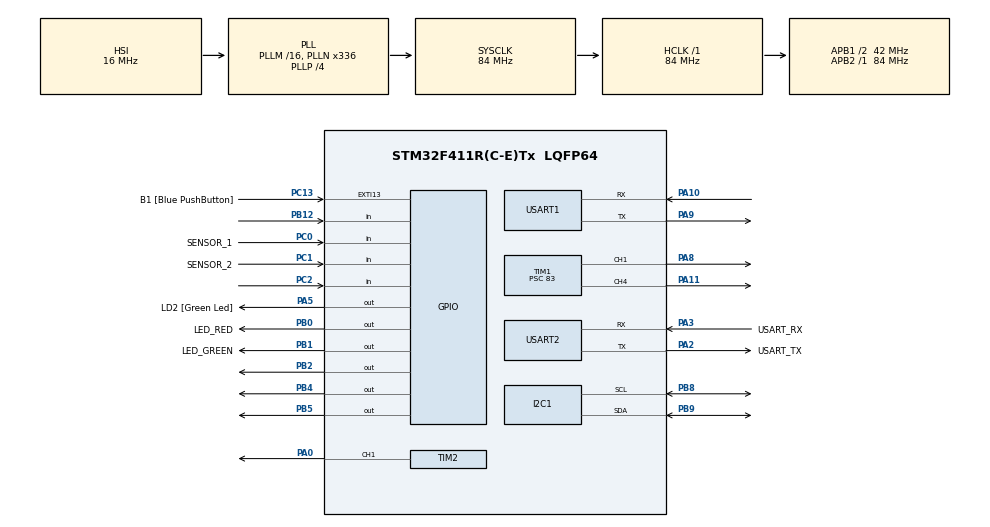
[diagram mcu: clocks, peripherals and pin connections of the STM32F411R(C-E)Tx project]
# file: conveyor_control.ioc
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Mcu.Family=STM32F4
Mcu.Name=STM32F411R(C-E)Tx
Mcu.Package=LQFP64
NVIC.PriorityGroup=NVIC_PRIORITYGROUP_0
NVIC.USART1_IRQn=true\:0\:0\:false\:false\:true\:true\:true\:true
PA0-WKUP.Signal=S_TIM2_CH1_ETR
PA10.Mode=Asynchronous
PA10.Signal=USART1_RX
PA11.Signal=S_TIM1_CH4
PA13.GPIO_Label=TMS
PA13.Mode=Serial_Wire
PA13.Signal=SYS_JTMS-SWDIO
PA14.GPIO_Label=TCK
PA14.Mode=Serial_Wire
PA14.Signal=SYS_JTCK-SWCLK
PA2.GPIO_Label=USART_TX
PA2.Mode=Asynchronous
PA2.Signal=USART2_TX
PA3.GPIO_Label=USART_RX
PA3.Mode=Asynchronous
PA3.Signal=USART2_RX
PA5.GPIO_Label=LD2 [Green Led]
PA5.Signal=GPIO_Output
PA8.Signal=S_TIM1_CH1
PA9.Mode=Asynchronous
PA9.Signal=USART1_TX
PB0.GPIO_Label=LED_RED
PB0.Signal=GPIO_Output
PB1.GPIO_Label=LED_GREEN
PB1.Signal=GPIO_Output
PB12.GPIO_PuPd=GPIO_PULLUP
PB12.Signal=GPIO_Input
PB2.Signal=GPIO_Output
PB3.GPIO_Label=SWO
PB3.Signal=SYS_JTDO-SWO
PB4.Signal=GPIO_Output
PB5.Signal=GPIO_Output
PB8.Mode=I2C
PB8.Signal=I2C1_SCL
PB9.Mode=I2C
PB9.Signal=I2C1_SDA
PC0.GPIO_Label=SENSOR_1
PC0.Signal=GPIO_Input
PC1.GPIO_Label=SENSOR_2
PC1.Signal=GPIO_Input
PC13-ANTI_TAMP.GPIO_Label=B1 [Blue PushButton]
PC13-ANTI_TAMP.GPIO_ModeDefaultEXTI=GPIO_MODE_IT_FALLING
PC13-ANTI_TAMP.Signal=GPXTI13
PC14-OSC32_IN.Mode=LSE-External-Oscillator
PC14-OSC32_IN.Signal=RCC_OSC32_IN
PC15-OSC32_OUT.Mode=LSE-External-Oscillator
PC15-OSC32_OUT.Signal=RCC_OSC32_OUT
PC2.Signal=GPIO_Input
PH0\ -\ OSC_IN.Mode=HSE-External-Clock-Source
PH0\ -\ OSC_IN.Signal=RCC_OSC_IN
PH1\ -\ OSC_OUT.Mode=HSE-External-Clock-Source
PH1\ -\ OSC_OUT.Signal=RCC_OSC_OUT
ProjectManager.HeapSize=0x200
ProjectManager.StackSize=0x400
ProjectManager.TargetToolchain=STM32CubeIDE
RCC.48MHZClocksFreq_Value=84000000
RCC.AHBFreq_Value=84000000
RCC.APB1CLKDivider=RCC_HCLK_DIV2
RCC.APB1Freq_Value=42000000
RCC.APB1TimFreq_Value=84000000
RCC.APB2Freq_Value=84000000
RCC.APB2TimFreq_Value=84000000
RCC.CortexFreq_Value=84000000
RCC.FLatency-AdvancedSettings=FLASH_LATENCY_2
RCC.HCLKFreq_Value=84000000
RCC.HSE_VALUE=8000000
RCC.HSI_VALUE=16000000
RCC.PLLN=336
RCC.PLLP=RCC_PLLP_DIV4
RCC.SYSCLKFreq_VALUE=84000000
RCC.SYSCLKSource=RCC_SYSCLKSOURCE_PLLCLK
RCC.VCOOutputFreq_Value=336000000
SH.S_TIM1_CH1.0=TIM1_CH1,PWM Generation1 CH1
SH.S_TIM1_CH4.0=TIM1_CH4,PWM Generation4 CH4
SH.S_TIM2_CH1_ETR.0=TIM2_CH1,PWM Generation1 CH1
TIM1.Channel-PWM\ Generation1\ CH1=TIM_CHANNEL_1
TIM1.Channel-PWM\ Generation4\ CH4=TIM_CHANNEL_4
TIM1.Period=19999
TIM1.Prescaler=83
TIM1.Pulse-PWM\ Generation4\ CH4=1500
TIM2.Channel-PWM\ Generation1\ CH1=TIM_CHANNEL_1
TIM2.Period=999
TIM2.Prescaler=83
USART1.VirtualMode=VM_ASYNC
USART2.VirtualMode=VM_ASYNC
VP_TIM2_VS_ClockSourceINT.Mode=Internal
board=NUCLEO-F411RE

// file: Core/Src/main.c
/* USER CODE BEGIN Header */
/**
  ******************************************************************************
  * @file           : main.c
  * @brief          : Main program body
  ******************************************************************************
  * @attention
  *
  * Copyright (c) 2026 STMicroelectronics.
  * All rights reserved.
  *
  * This software is licensed under terms that can be found in the LICENSE file
  * in the root directory of this software component.
  * If no LICENSE file comes with this software, it is provided AS-IS.
  *
  ******************************************************************************
  */
/* USER CODE END Header */
#include "main.h"

/* USER CODE BEGIN Includes */
#include "servo_motor.h"
#include "tracking.h"
#include "led.h"
#include "sorter.h"
#include "conveyor.h"
#include "button.h"
#include "lcd.h"
#include "communication.h"
#include "wifi.h"

/* USER CODE END Includes */

I2C_HandleTypeDef hi2c1;

TIM_HandleTypeDef htim1;
TIM_HandleTypeDef htim2;

UART_HandleTypeDef huart1;
UART_HandleTypeDef huart2;

/* USER CODE BEGIN PV */

volatile uint8_t sensor1_raw = 0U;
volatile uint8_t sensor2_raw = 0U;
volatile uint8_t sensor3_raw = 0U;

volatile uint8_t sensor1_detected = 0U;
volatile uint8_t sensor2_detected = 0U;
volatile uint8_t sensor3_detected = 0U;

volatile uint32_t sensor1_count = 0U;
static uint8_t sensor1_previous = 0U;

volatile SorterError sorter_error = SORTER_ERR_NONE;

volatile uint8_t button_raw = 1U;

volatile uint32_t normal_completed = 0U;
volatile uint32_t defect_completed = 0U;
volatile uint8_t pending_products = 0U;
volatile uint8_t lcd_ok = 0U;

// TEMP: 1 = belt-only test; set to 0 to restore sorting.
#define CONVEYOR_TEST_MODE 0
static uint8_t startup_run_pending = 1U;
#if CONVEYOR_TEST_MODE
static uint8_t test_running = 1U;
#endif

/* USER CODE END PV */

void SystemClock_Config(void);
static void MX_GPIO_Init(void);
static void MX_USART2_UART_Init(void);
static void MX_TIM1_Init(void);
static void MX_TIM2_Init(void);
static void MX_I2C1_Init(void);
static void MX_USART1_UART_Init(void);

int main(void)
{

  /* MCU Configuration--------------------------------------------------------*/

  /* Reset of all peripherals, Initializes the Flash interface and the Systick. */
  HAL_Init();

  /* Configure the system clock */
  SystemClock_Config();

  /* Initialize all configured peripherals */
  MX_GPIO_Init();
  MX_USART2_UART_Init();
  MX_TIM1_Init();
  MX_TIM2_Init();
  MX_I2C1_Init();\
  MX_USART1_UART_Init();
  /* USER CODE BEGIN 2 */

 Button_Init();
  Conveyor_Init();
  Sorter_Init();

  lcd_ok = LCD_Init();

#if CONVEYOR_TEST_MODE
  Conveyor_Run(40);
#else
  Communication_Init();
#endif

  /* USER CODE END 2 */

  /* Infinite loop */
while (1)
{

    /* USER CODE BEGIN 3 */
#if CONVEYOR_TEST_MODE
    // Sensor and communication control are temporarily excluded.
    button_raw = Button_ReadRaw();
    if (Button_WasPressed())
    {
        test_running ^= 1U;
        if (test_running) Conveyor_Run(40);
        else Conveyor_Stop();
    }
#else
    Communication_Update();

    if (startup_run_pending &&
        Wifi_IsReady() &&
        !Sorter_IsStopped())
    {
        startup_run_pending = 0U;
        Conveyor_Run(40);
        Communication_ReportState("RUN");
    }

    sensor1_raw = Tracking_Read1();
    sensor2_raw = Tracking_Read2();
    sensor3_raw = Tracking_Read3();

    sensor1_detected = Tracking_IsDetected1();
    sensor2_detected = Tracking_IsDetected2();
    sensor3_detected = Tracking_IsDetected3();

    if (sensor1_previous == 0U &&
        sensor1_detected == 1U)
    {
        sensor1_count++;
    }

    sensor1_previous = sensor1_detected;

    button_raw = Button_ReadRaw();

    if (Button_WasPressed())
    {
        startup_run_pending = 0U;

        if (!Sorter_IsStopped())
        {
            Sorter_Stop();
        }
        else if (!Wifi_IsReady())
        {
            LCD_ShowResetBlocked();
        }
        else if (Sorter_TryReset())
        {
            LCD_ClearResetBlocked();
            Conveyor_Run(40);

            Communication_ReportState("RESTART");
            Communication_ReportState("RUN");
        }
        else
        {
            LCD_ShowResetBlocked();
        }
    }

    Sorter_Update();

    sorter_error = Sorter_GetError();
    normal_completed = Sorter_GetNormalCount();
    defect_completed = Sorter_GetDefectCount();
    pending_products = Sorter_GetPendingCount();

    LCD_Update();
#endif
    HAL_Delay(10);
}

  /* USER CODE END 3 */
}

void SystemClock_Config(void)
{
  RCC_OscInitTypeDef RCC_OscInitStruct = {0};
  RCC_ClkInitTypeDef RCC_ClkInitStruct = {0};

  /** Configure the main internal regulator output voltage
  */
  __HAL_RCC_PWR_CLK_ENABLE();
  __HAL_PWR_VOLTAGESCALING_CONFIG(PWR_REGULATOR_VOLTAGE_SCALE1);

  /** Initializes the RCC Oscillators according to the specified parameters
  * in the RCC_OscInitTypeDef structure.
  */
  RCC_OscInitStruct.OscillatorType = RCC_OSCILLATORTYPE_HSI;
  RCC_OscInitStruct.HSIState = RCC_HSI_ON;
  RCC_OscInitStruct.HSICalibrationValue = RCC_HSICALIBRATION_DEFAULT;
  RCC_OscInitStruct.PLL.PLLState = RCC_PLL_ON;
  RCC_OscInitStruct.PLL.PLLSource = RCC_PLLSOURCE_HSI;
  RCC_OscInitStruct.PLL.PLLM = 16;
  RCC_OscInitStruct.PLL.PLLN = 336;
  RCC_OscInitStruct.PLL.PLLP = RCC_PLLP_DIV4;
  RCC_OscInitStruct.PLL.PLLQ = 4;
  if (HAL_RCC_OscConfig(&RCC_OscInitStruct) != HAL_OK)
  {
    Error_Handler();
  }

  /** Initializes the CPU, AHB and APB buses clocks
  */
  RCC_ClkInitStruct.ClockType = RCC_CLOCKTYPE_HCLK|RCC_CLOCKTYPE_SYSCLK
                              |RCC_CLOCKTYPE_PCLK1|RCC_CLOCKTYPE_PCLK2;
  RCC_ClkInitStruct.SYSCLKSource = RCC_SYSCLKSOURCE_PLLCLK;
  RCC_ClkInitStruct.AHBCLKDivider = RCC_SYSCLK_DIV1;
  RCC_ClkInitStruct.APB1CLKDivider = RCC_HCLK_DIV2;
  RCC_ClkInitStruct.APB2CLKDivider = RCC_HCLK_DIV1;

  if (HAL_RCC_ClockConfig(&RCC_ClkInitStruct, FLASH_LATENCY_2) != HAL_OK)
  {
    Error_Handler();
  }
}

static void MX_I2C1_Init(void)
{

  hi2c1.Instance = I2C1;
  hi2c1.Init.ClockSpeed = 100000;
  hi2c1.Init.DutyCycle = I2C_DUTYCYCLE_2;
  hi2c1.Init.OwnAddress1 = 0;
  hi2c1.Init.AddressingMode = I2C_ADDRESSINGMODE_7BIT;
  hi2c1.Init.DualAddressMode = I2C_DUALADDRESS_DISABLE;
  hi2c1.Init.OwnAddress2 = 0;
  hi2c1.Init.GeneralCallMode = I2C_GENERALCALL_DISABLE;
  hi2c1.Init.NoStretchMode = I2C_NOSTRETCH_DISABLE;
  if (HAL_I2C_Init(&hi2c1) != HAL_OK)
  {
    Error_Handler();
  }

}

static void MX_TIM1_Init(void)
{

  TIM_MasterConfigTypeDef sMasterConfig = {0};
  TIM_OC_InitTypeDef sConfigOC = {0};
  TIM_BreakDeadTimeConfigTypeDef sBreakDeadTimeConfig = {0};

  htim1.Instance = TIM1;
  htim1.Init.Prescaler = 83;
  htim1.Init.CounterMode = TIM_COUNTERMODE_UP;
  htim1.Init.Period = 19999;
  htim1.Init.ClockDivision = TIM_CLOCKDIVISION_DIV1;
  htim1.Init.RepetitionCounter = 0;
  htim1.Init.AutoReloadPreload = TIM_AUTORELOAD_PRELOAD_DISABLE;
  if (HAL_TIM_PWM_Init(&htim1) != HAL_OK)
  {
    Error_Handler();
  }
  sMasterConfig.MasterOutputTrigger = TIM_TRGO_RESET;
  sMasterConfig.MasterSlaveMode = TIM_MASTERSLAVEMODE_DISABLE;
  if (HAL_TIMEx_MasterConfigSynchronization(&htim1, &sMasterConfig) != HAL_OK)
  {
    Error_Handler();
  }
  sConfigOC.OCMode = TIM_OCMODE_PWM1;
  sConfigOC.Pulse = 0;
  sConfigOC.OCPolarity = TIM_OCPOLARITY_HIGH;
  sConfigOC.OCNPolarity = TIM_OCNPOLARITY_HIGH;
  sConfigOC.OCFastMode = TIM_OCFAST_DISABLE;
  sConfigOC.OCIdleState = TIM_OCIDLESTATE_RESET;
  sConfigOC.OCNIdleState = TIM_OCNIDLESTATE_RESET;
  if (HAL_TIM_PWM_ConfigChannel(&htim1, &sConfigOC, TIM_CHANNEL_1) != HAL_OK)
  {
    Error_Handler();
  }
  sConfigOC.Pulse = 1500;
  if (HAL_TIM_PWM_ConfigChannel(&htim1, &sConfigOC, TIM_CHANNEL_4) != HAL_OK)
  {
    Error_Handler();
  }
  sBreakDeadTimeConfig.OffStateRunMode = TIM_OSSR_DISABLE;
  sBreakDeadTimeConfig.OffStateIDLEMode = TIM_OSSI_DISABLE;
  sBreakDeadTimeConfig.LockLevel = TIM_LOCKLEVEL_OFF;
  sBreakDeadTimeConfig.DeadTime = 0;
  sBreakDeadTimeConfig.BreakState = TIM_BREAK_DISABLE;
  sBreakDeadTimeConfig.BreakPolarity = TIM_BREAKPOLARITY_HIGH;
  sBreakDeadTimeConfig.AutomaticOutput = TIM_AUTOMATICOUTPUT_DISABLE;
  if (HAL_TIMEx_ConfigBreakDeadTime(&htim1, &sBreakDeadTimeConfig) != HAL_OK)
  {
    Error_Handler();
  }
  HAL_TIM_MspPostInit(&htim1);

}

static void MX_TIM2_Init(void)
{

  TIM_ClockConfigTypeDef sClockSourceConfig = {0};
  TIM_MasterConfigTypeDef sMasterConfig = {0};
  TIM_OC_InitTypeDef sConfigOC = {0};

  htim2.Instance = TIM2;
  htim2.Init.Prescaler = 83;
  htim2.Init.CounterMode = TIM_COUNTERMODE_UP;
  htim2.Init.Period = 999;
  htim2.Init.ClockDivision = TIM_CLOCKDIVISION_DIV1;
  htim2.Init.AutoReloadPreload = TIM_AUTORELOAD_PRELOAD_DISABLE;
  if (HAL_TIM_Base_Init(&htim2) != HAL_OK)
  {
    Error_Handler();
  }
  sClockSourceConfig.ClockSource = TIM_CLOCKSOURCE_INTERNAL;
  if (HAL_TIM_ConfigClockSource(&htim2, &sClockSourceConfig) != HAL_OK)
  {
    Error_Handler();
  }
  if (HAL_TIM_PWM_Init(&htim2) != HAL_OK)
  {
    Error_Handler();
  }
  sMasterConfig.MasterOutputTrigger = TIM_TRGO_RESET;
  sMasterConfig.MasterSlaveMode = TIM_MASTERSLAVEMODE_DISABLE;
  if (HAL_TIMEx_MasterConfigSynchronization(&htim2, &sMasterConfig) != HAL_OK)
  {
    Error_Handler();
  }
  sConfigOC.OCMode = TIM_OCMODE_PWM1;
  sConfigOC.Pulse = 0;
  sConfigOC.OCPolarity = TIM_OCPOLARITY_HIGH;
  sConfigOC.OCFastMode = TIM_OCFAST_DISABLE;
  if (HAL_TIM_PWM_ConfigChannel(&htim2, &sConfigOC, TIM_CHANNEL_1) != HAL_OK)
  {
    Error_Handler();
  }
  HAL_TIM_MspPostInit(&htim2);

}

static void MX_USART1_UART_Init(void)
{

  huart1.Instance = USART1;
  huart1.Init.BaudRate = 115200;
  huart1.Init.WordLength = UART_WORDLENGTH_8B;
  huart1.Init.StopBits = UART_STOPBITS_1;
  huart1.Init.Parity = UART_PARITY_NONE;
  huart1.Init.Mode = UART_MODE_TX_RX;
  huart1.Init.HwFlowCtl = UART_HWCONTROL_NONE;
  huart1.Init.OverSampling = UART_OVERSAMPLING_16;
  if (HAL_UART_Init(&huart1) != HAL_OK)
  {
    Error_Handler();
  }

}

static void MX_USART2_UART_Init(void)
{

  huart2.Instance = USART2;
  huart2.Init.BaudRate = 115200;
  huart2.Init.WordLength = UART_WORDLENGTH_8B;
  huart2.Init.StopBits = UART_STOPBITS_1;
  huart2.Init.Parity = UART_PARITY_NONE;
  huart2.Init.Mode = UART_MODE_TX_RX;
  huart2.Init.HwFlowCtl = UART_HWCONTROL_NONE;
  huart2.Init.OverSampling = UART_OVERSAMPLING_16;
  if (HAL_UART_Init(&huart2) != HAL_OK)
  {
    Error_Handler();
  }

}

static void MX_GPIO_Init(void)
{
  GPIO_InitTypeDef GPIO_InitStruct = {0};

  /* GPIO Ports Clock Enable */
  __HAL_RCC_GPIOC_CLK_ENABLE();
  __HAL_RCC_GPIOH_CLK_ENABLE();
  __HAL_RCC_GPIOA_CLK_ENABLE();
  __HAL_RCC_GPIOB_CLK_ENABLE();

  /*Configure GPIO pin Output Level */
  HAL_GPIO_WritePin(LD2_GPIO_Port, LD2_Pin, GPIO_PIN_RESET);

  /*Configure GPIO pin Output Level */
  HAL_GPIO_WritePin(GPIOB, LED_RED_Pin|LED_GREEN_Pin|GPIO_PIN_2|GPIO_PIN_4
                          |GPIO_PIN_5, GPIO_PIN_RESET);

  /*Configure GPIO pin : B1_Pin */
  GPIO_InitStruct.Pin = B1_Pin;
  GPIO_InitStruct.Mode = GPIO_MODE_IT_FALLING;
  GPIO_InitStruct.Pull = GPIO_NOPULL;
  HAL_GPIO_Init(B1_GPIO_Port, &GPIO_InitStruct);

  /*Configure GPIO pins : SENSOR_1_Pin SENSOR_2_Pin PC2 */
  GPIO_InitStruct.Pin = SENSOR_1_Pin|SENSOR_2_Pin|GPIO_PIN_2;
  GPIO_InitStruct.Mode = GPIO_MODE_INPUT;
  GPIO_InitStruct.Pull = GPIO_NOPULL;
  HAL_GPIO_Init(GPIOC, &GPIO_InitStruct);

  /*Configure GPIO pin : LD2_Pin */
  GPIO_InitStruct.Pin = LD2_Pin;
  GPIO_InitStruct.Mode = GPIO_MODE_OUTPUT_PP;
  GPIO_InitStruct.Pull = GPIO_NOPULL;
  GPIO_InitStruct.Speed = GPIO_SPEED_FREQ_LOW;
  HAL_GPIO_Init(LD2_GPIO_Port, &GPIO_InitStruct);

  /*Configure GPIO pins : LED_RED_Pin LED_GREEN_Pin PB2 PB4
                           PB5 */
  GPIO_InitStruct.Pin = LED_RED_Pin|LED_GREEN_Pin|GPIO_PIN_2|GPIO_PIN_4
                          |GPIO_PIN_5;
  GPIO_InitStruct.Mode = GPIO_MODE_OUTPUT_PP;
  GPIO_InitStruct.Pull = GPIO_NOPULL;
  GPIO_InitStruct.Speed = GPIO_SPEED_FREQ_LOW;
  HAL_GPIO_Init(GPIOB, &GPIO_InitStruct);

  /*Configure GPIO pin : PB12 */
  GPIO_InitStruct.Pin = GPIO_PIN_12;
  GPIO_InitStruct.Mode = GPIO_MODE_INPUT;
  GPIO_InitStruct.Pull = GPIO_PULLUP;
  HAL_GPIO_Init(GPIOB, &GPIO_InitStruct);

  /* USER CODE BEGIN MX_GPIO_Init_2 */

  // 컨베이어 방향 핀 초기화
  HAL_GPIO_WritePin(
      GPIOB,
      GPIO_PIN_4 | GPIO_PIN_5,
      GPIO_PIN_RESET
  );

GPIO_InitStruct.Pin = GPIO_PIN_4 | GPIO_PIN_5;
GPIO_InitStruct.Mode = GPIO_MODE_OUTPUT_PP;
GPIO_InitStruct.Pull = GPIO_NOPULL;
GPIO_InitStruct.Speed = GPIO_SPEED_FREQ_LOW;
HAL_GPIO_Init(GPIOB, &GPIO_InitStruct);

  // 센서: 앞 PC0 / 왼쪽 PC1 / 오른쪽 PC2
  GPIO_InitStruct.Pin =
      GPIO_PIN_0 | GPIO_PIN_1 | GPIO_PIN_2;

  GPIO_InitStruct.Mode = GPIO_MODE_INPUT;
  GPIO_InitStruct.Pull = GPIO_NOPULL;
  HAL_GPIO_Init(GPIOC, &GPIO_InitStruct);

  // RGB LED: R PB0 / G PB1 / B PB2
  HAL_GPIO_WritePin(
      GPIOB,
      GPIO_PIN_0 | GPIO_PIN_1 | GPIO_PIN_2,
      GPIO_PIN_RESET
  );

  GPIO_InitStruct.Pin =
      GPIO_PIN_0 | GPIO_PIN_1 | GPIO_PIN_2;

  GPIO_InitStruct.Mode = GPIO_MODE_OUTPUT_PP;
  GPIO_InitStruct.Pull = GPIO_NOPULL;
  GPIO_InitStruct.Speed = GPIO_SPEED_FREQ_LOW;
  HAL_GPIO_Init(GPIOB, &GPIO_InitStruct);

  // 버튼: PB12와 GND 사이, 누르면 LOW
  GPIO_InitStruct.Pin = GPIO_PIN_12;
  GPIO_InitStruct.Mode = GPIO_MODE_INPUT;
  GPIO_InitStruct.Pull = GPIO_PULLUP;
  HAL_GPIO_Init(GPIOB, &GPIO_InitStruct);

  /* USER CODE END MX_GPIO_Init_2 */
}

void Error_Handler(void)
{
  __disable_irq();
  while (1)
  {
  }
}
